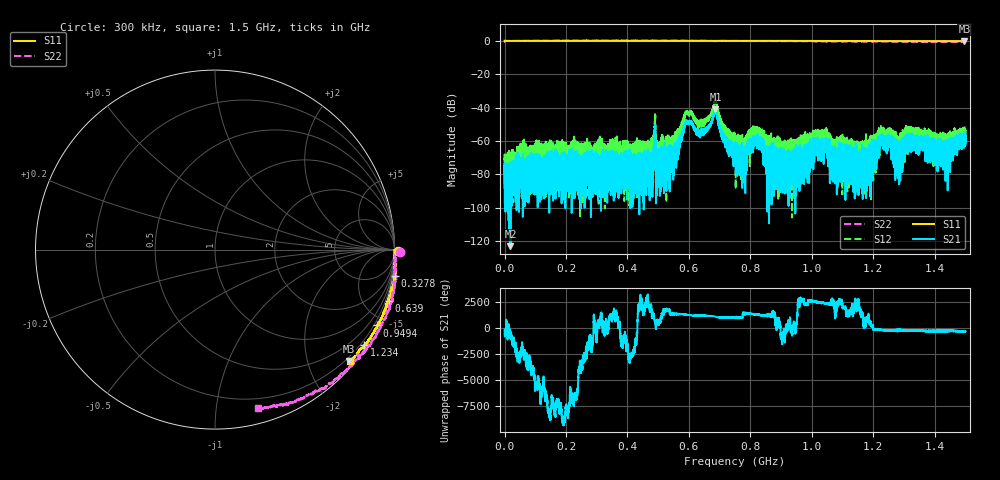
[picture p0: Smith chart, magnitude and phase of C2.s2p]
!Agilent Technologies,N5230C,SG49000117,A.08.50.07
!Agilent N5230C: A.08.50.07
!Date: Thursday, December 07, 2023 05:30:33
!Correction: S11(Full 2 Port(1,2))
!S21(Full 2 Port(1,2))
!S12(Full 2 Port(1,2))
!S22(Full 2 Port(1,2))
!S2P File: Measurements: S11, S21, S12, S22:
# Hz S  RI  R 50
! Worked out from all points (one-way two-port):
!   20001 points, 300 kHz to 1.5 GHz, reference 50 ohm
!   highest |S21| = -41.00 dB at 686.3 MHz (marker M1); lowest = -123.2 dB at 19.35 MHz (marker M2)
!   lowest |S11| = -0.2 dB at 1.497 GHz (marker M3), VSWR 71.18, Z = 6.1 - j138 ohm
!   |S11| at or under -10 dB: nowhere
!   |S22| runs from -0.8 to 0.3 dB; largest |S21 - S12| = 0.0087
!   S11 on the Smith chart (normalised r, x): 300 kHz: open; 327.8 MHz: -1, -14; 639 MHz: -0.26, -6.86; 949.4 MHz: 0.02, -4.50; 1.234 GHz: 0.08, -3.42; 1.5 GHz: 0.11, -2.76
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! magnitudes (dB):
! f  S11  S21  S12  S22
! 300 kHz  0.2  -77.0  -68.3  0.3
! 19.35 MHz  0.0  -123.2  -74.1  0.0
! 250.3 MHz  0.1  -76.4  -72.1  0.2
! 327.8 MHz  0.1  -77.1  -74.8  0.2
! 466.2 MHz  0.1  -76.8  -72.1  0.1
! 485.8 MHz  0.1  -65.1  -67.2  0.1
! 500.2 MHz  0.1  -85.1  -64.4  0.2
! 551.6 MHz  0.1  -65.8  -63.7  0.1
! 592.8 MHz  0.0  -48.3  -42.6  0.1
! 639 MHz  0.1  -54.6  -48.6  0.1
! 686.3 MHz  0.0  -41.0  -35.5  -0.2
! 750.1 MHz  0.0  -64.0  -64.9  0.0
! 820.7 MHz  0.0  -56.8  -54.5  0.0
! 883.2 MHz  0.0  -75.8  -70.2  -0.1
! 949.4 MHz  0.0  -73.6  -72.3  -0.1
! 1 GHz  0.0  -66.8  -64.0  -0.2
! 1.166 GHz  -0.1  -63.7  -64.6  -0.4
! 1.234 GHz  -0.1  -57.3  -55.7  -0.4
! 1.25 GHz  -0.1  -56.9  -55.0  -0.4
! 1.279 GHz  -0.1  -70.0  -67.4  -0.5
! 1.497 GHz  -0.2  -58.7  -55.2  -0.7
! 1.5 GHz  -0.2  -55.3  -53.3  -0.8
